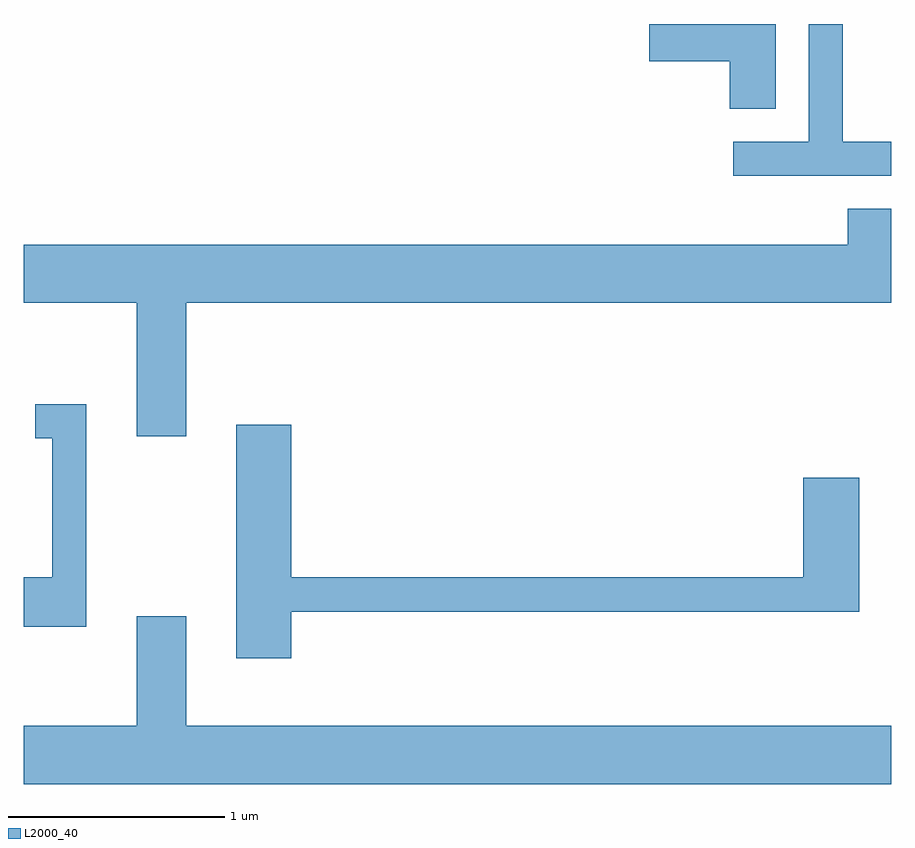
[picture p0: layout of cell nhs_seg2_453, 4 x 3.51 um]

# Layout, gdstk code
import gdstk
lib = gdstk.Library(unit=1e-6, precision=1e-09)
def P(c, l, *ps):  # polygons
    for p in ps: c.add(gdstk.Polygon(p, *l))
L2000_40 = (2000, 40)

nhs_seg2_453 = lib.new_cell('nhs_seg2_453')
P(nhs_seg2_453, L2000_40, [(201.079,1071.802),(200.496,1071.802),(200.496,1071.631),(200.866,1071.631),(200.866,1071.411),(201.079,1071.411)],
  [(201.611,1071.259),(201.389,1071.259),(201.389,1071.802),(201.231,1071.802),(201.231,1071.259),(200.883,1071.259),(200.883,1071.101),(201.611,1071.101)],
  [(198.359,1070.516),(201.611,1070.516),(201.611,1070.949),(201.411,1070.949),(201.411,1070.784),(197.611,1070.784),(197.611,1070.516),(198.131,1070.516),(198.131,1069.901),(198.359,1069.901)],
  [(197.899,1070.049),(197.663,1070.049),(197.663,1069.891),(197.741,1069.891),(197.741,1069.249),(197.611,1069.249),(197.611,1069.021),(197.899,1069.021)],
  [(198.844,1069.091),(201.464,1069.091),(201.464,1069.709),(201.206,1069.709),(201.206,1069.249),(198.844,1069.249),(198.844,1069.954),(198.591,1069.954),(198.591,1068.876),(198.844,1068.876)],
  [(201.611,1068.564),(198.359,1068.564),(198.359,1069.069),(198.131,1069.069),(198.131,1068.564),(197.611,1068.564),(197.611,1068.296),(201.611,1068.296)])

lib.write_gds('nhs_seg2_453.gds')
